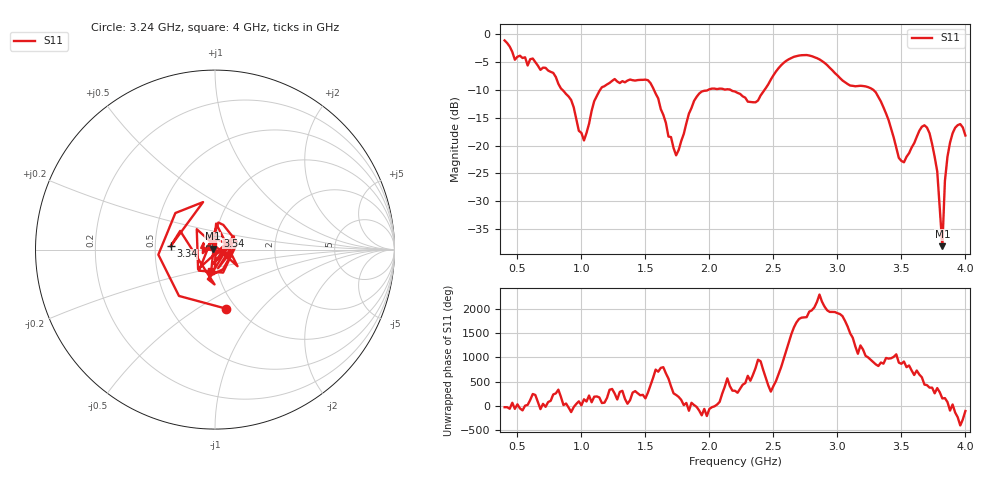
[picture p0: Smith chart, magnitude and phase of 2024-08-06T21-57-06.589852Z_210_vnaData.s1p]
!Created with skrf (http://scikit-rf.org).
# Hz S RI R 50.0
!freq ReS11 ImS11
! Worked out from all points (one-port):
!   181 points, 400 MHz to 4 GHz, reference 50 ohm
!   lowest |S11| = -38.1 dB at 3.82 GHz (marker M1), VSWR 1.03, Z = 48.9 + j0.458 ohm
!   |S11| at or under -10 dB: 851.5 MHz to 1.146 GHz (294.9 MHz wide, 29.5 % of centre); 1.567 GHz to 1.991 GHz (424.1 MHz wide, 23.8 % of centre); 3.281 GHz to end of sweep (the widest 3 of 4)
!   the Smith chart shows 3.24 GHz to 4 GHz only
!   S11 on the Smith chart (normalised r, x): 3.24 GHz: 0.90, -0.66; 3.34 GHz: 0.60, +0.02; 3.54 GHz: 1.01, +0.16; 4 GHz: 0.93, -0.23
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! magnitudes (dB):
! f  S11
! 400 MHz  -1.1
! 480 MHz  -4.6
! 860 MHz  -10.2
! 1.02 GHz  -19.1
! 1.14 GHz  -10.2
! 1.3 GHz  -8.8
! 1.52 GHz  -8.3
! 1.74 GHz  -21.8
! 1.76 GHz  -20.8
! 1.92 GHz  -10.7
! 2.2 GHz  -10.3
! 2.36 GHz  -12.2
! 2.66 GHz  -4.1
! 2.86 GHz  -4.5
! 3.1 GHz  -9.2
! 3.24 GHz  -9.5
! 3.34 GHz  -12.1
! 3.48 GHz  -22.2
! 3.54 GHz  -22.0
! 3.56 GHz  -21.4
! 3.66 GHz  -16.6
! 3.72 GHz  -17.8
! 3.78 GHz  -24.6
! 3.82 GHz  -38.1
! 3.84 GHz  -26.4
! 3.88 GHz  -19.5
! 3.94 GHz  -16.3
! 4 GHz  -18.2
